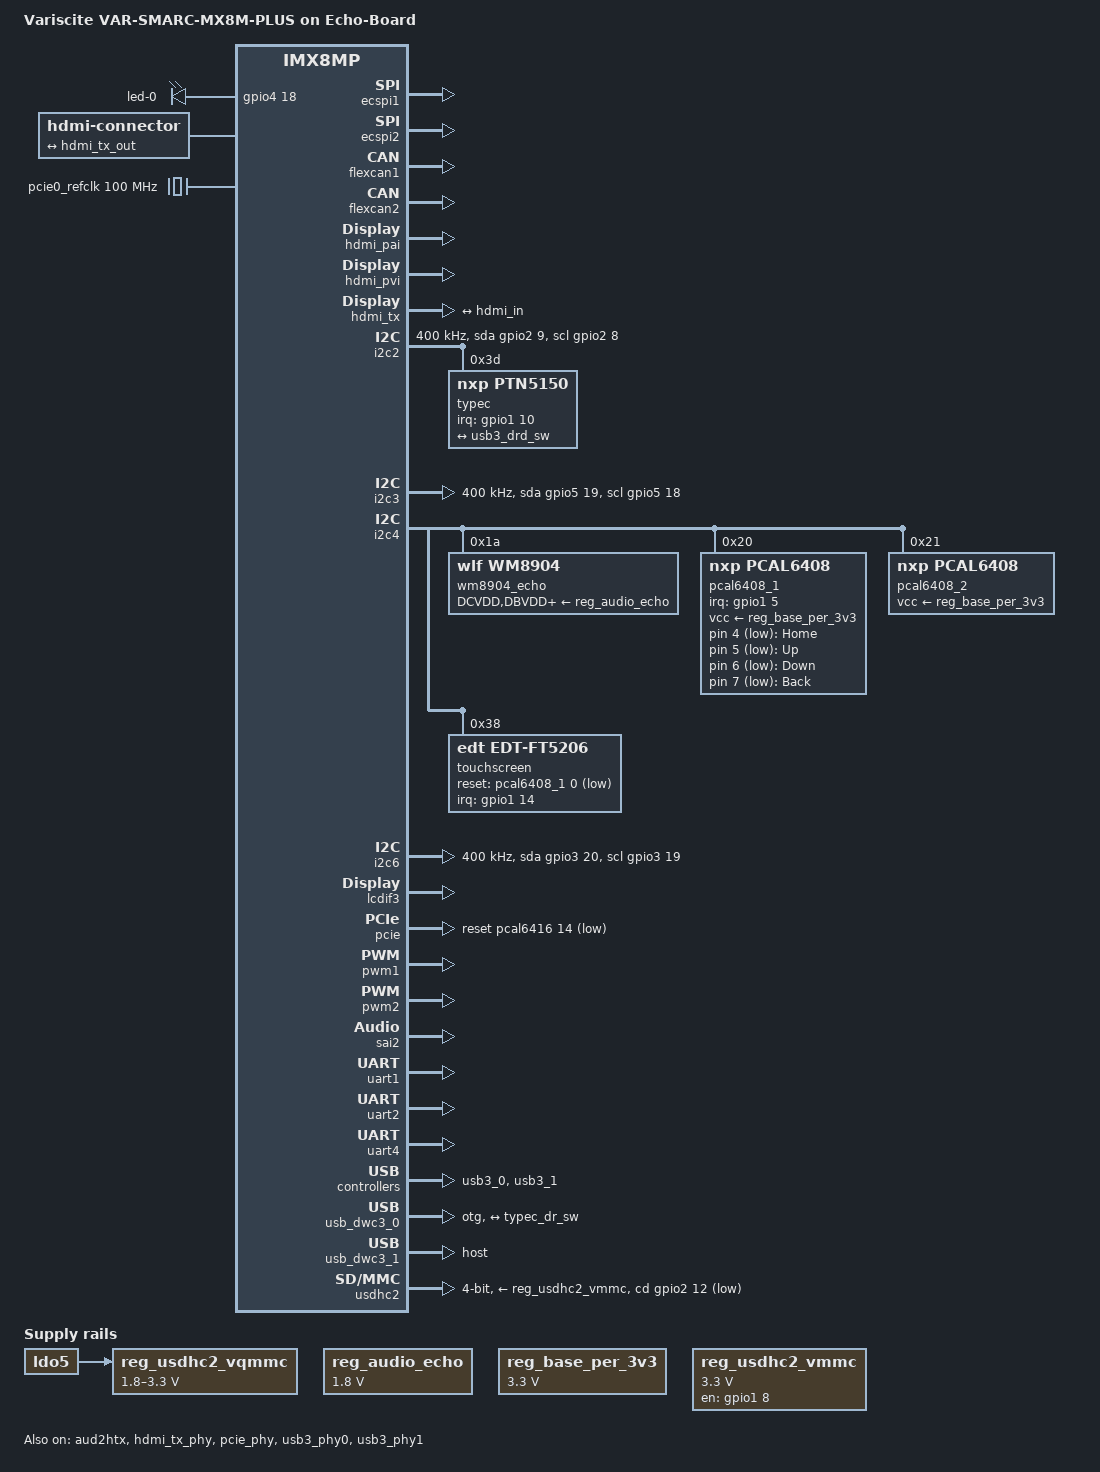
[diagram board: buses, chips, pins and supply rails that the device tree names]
// SPDX-License-Identifier: (GPL-2.0+ OR MIT)
/*
 * Variscite Echo carrier board for VAR-SMARC-MX8M-PLUS
 *
 * Link: https://variscite.com/carrier-boards/echo-board/
 *
 * Copyright (C) 2026 Variscite Ltd. - https://www.variscite.com/
 *
 */

/dts-v1/;

#include <dt-bindings/leds/common.h>
#include <dt-bindings/phy/phy-imx8-pcie.h>
#include "imx8mp-var-smarc.dtsi"

/ {
	model = "Variscite VAR-SMARC-MX8M-PLUS on Echo-Board";
	compatible = "variscite,var-smarc-mx8mp-echo",
		     "variscite,var-smarc-mx8mp",
		     "fsl,imx8mp";

	chosen {
		stdout-path = &uart2;
	};

	gpio-keys {
		compatible = "gpio-keys";

		button-home {
			label = "Home";
			linux,code = <KEY_HOME>;
			gpios = <&pcal6408_1 4 GPIO_ACTIVE_LOW>;
		};

		button-up {
			label = "Up";
			linux,code = <KEY_UP>;
			gpios = <&pcal6408_1 5 GPIO_ACTIVE_LOW>;
		};

		button-down {
			label = "Down";
			linux,code = <KEY_DOWN>;
			gpios = <&pcal6408_1 6 GPIO_ACTIVE_LOW>;
		};

		button-back {
			label = "Back";
			linux,code = <KEY_BACK>;
			gpios = <&pcal6408_1 7 GPIO_ACTIVE_LOW>;
		};
	};

	gpio-leds {
		compatible = "gpio-leds";
		pinctrl-names = "default";
		pinctrl-0 = <&pinctrl_led>;

		led-0 {
			function = LED_FUNCTION_DISK;
			gpios = <&gpio4 18 GPIO_ACTIVE_HIGH>;
			linux,default-trigger = "mmc2";
		};
	};

	hdmi-connector {
		compatible = "hdmi-connector";
		type = "c";

		port {
			hdmi_in: endpoint {
				remote-endpoint = <&hdmi_tx_out>;
			};
		};
	};

	pcie0_refclk: pcie0-refclk {
		compatible = "fixed-clock";
		#clock-cells = <0>;
		clock-frequency = <100000000>;
	};

	reg_audio_echo: regulator-audio-echo-vdd {
		compatible = "regulator-fixed";
		regulator-name = "wm8904_echo_supply";
		regulator-min-microvolt = <1800000>;
		regulator-max-microvolt = <1800000>;
		regulator-always-on;
	};

	reg_base_per_3v3: regulator-base-per-3v3 {
		compatible = "regulator-fixed";
		regulator-name = "BASE_PER_3V3";
		regulator-min-microvolt = <3300000>;
		regulator-max-microvolt = <3300000>;
	};

	reg_usdhc2_vmmc: regulator-usdhc2-vmmc {
		compatible = "regulator-fixed";
		regulator-name = "VSD_3V3";
		regulator-min-microvolt = <3300000>;
		regulator-max-microvolt = <3300000>;
		gpio = <&gpio1 8 GPIO_ACTIVE_HIGH>;
		enable-active-high;
		startup-delay-us = <100>;
		off-on-delay-us = <12000>;
	};

	reg_usdhc2_vqmmc: regulator-usdhc2-vqmmc {
		compatible = "regulator-gpio";
		regulator-name = "VSD_VSEL";
		regulator-min-microvolt = <1800000>;
		regulator-max-microvolt = <3300000>;
		gpios = <&gpio1 4 GPIO_ACTIVE_HIGH>;
		gpios-states = <1>;
		states = <3300000 0>, <1800000 1>;
		vin-supply = <&ldo5>;
	};

	sound-echo {
		compatible = "simple-audio-card";
		simple-audio-card,bitclock-master = <&echo_codec_dai>;
		simple-audio-card,format = "i2s";
		simple-audio-card,frame-master = <&echo_codec_dai>;
		simple-audio-card,mclk-fs = <256>;
		simple-audio-card,name = "wm8904-ech-audio";
		simple-audio-card,routing =
			"Headphone Jack", "HPOUTL",
			"Headphone Jack", "HPOUTR",
			"IN2L", "Line In Jack",
			"IN2R", "Line In Jack",
			"IN1L", "Microphone Jack",
			"IN1R", "Microphone Jack";
		simple-audio-card,widgets =
			"Microphone", "Microphone Jack",
			"Headphone", "Headphone Jack",
			"Line", "Line In Jack";

		echo_codec_dai: simple-audio-card,codec {
			sound-dai = <&wm8904_echo>;
		};

		simple-audio-card,cpu {
			sound-dai = <&sai2>;
		};
	};

	sound-hdmi {
		compatible = "fsl,imx-audio-hdmi";
		model = "audio-hdmi";
		audio-cpu = <&aud2htx>;
		hdmi-out;
	};
};

&aud2htx {
	status = "okay";
};

&ecspi1 {
	pinctrl-names = "default";
	pinctrl-0 = <&pinctrl_ecspi1>;
	cs-gpios = <&gpio5 17 GPIO_ACTIVE_LOW>;
	status = "okay";
};

&ecspi2 {
	pinctrl-names = "default";
	pinctrl-0 = <&pinctrl_ecspi2>;
	cs-gpios = <&gpio5 13 GPIO_ACTIVE_LOW>;
	status = "okay";
};

&flexcan1 {
	pinctrl-names = "default";
	pinctrl-0 = <&pinctrl_flexcan1>;
	status = "okay";
};

&flexcan2 {
	pinctrl-names = "default";
	pinctrl-0 = <&pinctrl_flexcan2>;
	status = "okay";
};

&hdmi_pai {
	status = "okay";
};

&hdmi_pvi {
	status = "okay";
};

&hdmi_tx {
	pinctrl-names = "default";
	pinctrl-0 = <&pinctrl_hdmi>;
	status = "okay";

	ports {
		port@1 {
			hdmi_tx_out: endpoint {
				remote-endpoint = <&hdmi_in>;
			};
		};
	};
};

&hdmi_tx_phy {
	status = "okay";
};

&i2c2 {
	clock-frequency = <400000>;
	pinctrl-names = "default", "gpio";
	pinctrl-0 = <&pinctrl_i2c2>;
	pinctrl-1 = <&pinctrl_i2c2_gpio>;
	scl-gpios = <&gpio2 8 (GPIO_ACTIVE_HIGH | GPIO_OPEN_DRAIN)>;
	sda-gpios = <&gpio2 9 (GPIO_ACTIVE_HIGH | GPIO_OPEN_DRAIN)>;
	status = "okay";

	typec@3d {
		compatible = "nxp,ptn5150";
		reg = <0x3d>;
		pinctrl-names = "default";
		pinctrl-0 = <&pinctrl_ptn5150>;
		interrupt-parent = <&gpio1>;
		interrupts = <10 IRQ_TYPE_EDGE_FALLING>;

		port {
			typec_dr_sw: endpoint {
				remote-endpoint = <&usb3_drd_sw>;
			};
		};
	};
};

&i2c3 {
	clock-frequency = <400000>;
	pinctrl-names = "default", "gpio";
	pinctrl-0 = <&pinctrl_i2c3>;
	pinctrl-1 = <&pinctrl_i2c3_gpio>;
	scl-gpios = <&gpio5 18 (GPIO_ACTIVE_HIGH | GPIO_OPEN_DRAIN)>;
	sda-gpios = <&gpio5 19 (GPIO_ACTIVE_HIGH | GPIO_OPEN_DRAIN)>;
	status = "okay";
};

&i2c4 {
	wm8904_echo: codec@1a {
		compatible = "wlf,wm8904";
		reg = <0x1a>;
		#sound-dai-cells = <0>;
		clocks = <&audio_blk_ctrl IMX8MP_CLK_AUDIOMIX_SAI2_MCLK1>;
		clock-names = "mclk";
		DCVDD-supply = <&reg_audio_echo>;
		DBVDD-supply = <&reg_audio_echo>;
		AVDD-supply = <&reg_audio_echo>;
		CPVDD-supply = <&reg_audio_echo>;
		MICVDD-supply = <&reg_audio_echo>;
		wlf,drc-cfg-names = "default", "peaklimiter", "tradition",
				    "soft", "music";
		/*
		 * Config registers per name, respectively:
		 * KNEE_IP = 0,   KNEE_OP = 0,     HI_COMP = 1,   LO_COMP = 1
		 * KNEE_IP = -24, KNEE_OP = -6,    HI_COMP = 1/4, LO_COMP = 1
		 * KNEE_IP = -42, KNEE_OP = -3,    HI_COMP = 0,   LO_COMP = 1
		 * KNEE_IP = -45, KNEE_OP = -9,    HI_COMP = 1/8, LO_COMP = 1
		 * KNEE_IP = -30, KNEE_OP = -10.5, HI_COMP = 1/4, LO_COMP = 1
		 */
		wlf,drc-cfg-regs = /bits/ 16 <0x01af 0x3248 0x0000 0x0000>,
				   /bits/ 16 <0x04af 0x324b 0x0010 0x0408>,
				   /bits/ 16 <0x04af 0x324b 0x0028 0x0704>,
				   /bits/ 16 <0x04af 0x324b 0x0018 0x078c>,
				   /bits/ 16 <0x04af 0x324b 0x0010 0x050e>;
		/* GPIO1 = DMIC_CLK, don't touch others */
		wlf,gpio-cfg = <0x0018>, <0xffff>, <0xffff>, <0xffff>;
		wlf,in1l-as-dmicdat1;
	};

	pcal6408_1: gpio@20 {
		compatible = "nxp,pcal6408";
		reg = <0x20>;
		vcc-supply = <&reg_base_per_3v3>;
		gpio-controller;
		#gpio-cells = <2>;
		pinctrl-names = "default";
		pinctrl-0 = <&pinctrl_pcal6408>;
		interrupt-parent = <&gpio1>;
		interrupts = <5 IRQ_TYPE_EDGE_FALLING>;
	};

	pcal6408_2: gpio@21 {
		compatible = "nxp,pcal6408";
		reg = <0x21>;
		vcc-supply = <&reg_base_per_3v3>;
		gpio-controller;
		#gpio-cells = <2>;
	};

	touchscreen@38 {
		compatible = "edt,edt-ft5206";
		reg = <0x38>;
		pinctrl-names = "default";
		pinctrl-0 = <&pinctrl_captouch>;
		reset-gpios = <&pcal6408_1 0 GPIO_ACTIVE_LOW>;
		interrupt-parent = <&gpio1>;
		interrupts = <14 IRQ_TYPE_EDGE_FALLING>;
		touchscreen-size-x = <800>;
		touchscreen-size-y = <480>;
		touchscreen-inverted-x;
		touchscreen-inverted-y;
	};
};

&i2c6 {
	clock-frequency = <400000>;
	pinctrl-names = "default", "gpio";
	pinctrl-0 = <&pinctrl_i2c6>;
	pinctrl-1 = <&pinctrl_i2c6_gpio>;
	scl-gpios = <&gpio3 19 (GPIO_ACTIVE_HIGH | GPIO_OPEN_DRAIN)>;
	sda-gpios = <&gpio3 20 (GPIO_ACTIVE_HIGH | GPIO_OPEN_DRAIN)>;
	status = "okay";
};

&lcdif3 {
	status = "okay";
};

&pcie {
	reset-gpios = <&pcal6416 14 GPIO_ACTIVE_LOW>;
	status = "okay";
};

&pcie_phy {
	fsl,refclk-pad-mode = <IMX8_PCIE_REFCLK_PAD_INPUT>;
	clocks = <&pcie0_refclk>;
	clock-names = "ref";
	status = "okay";
};

&pwm1 {
	pinctrl-names = "default";
	pinctrl-0 = <&pinctrl_pwm1>;
	status = "okay";
};

&pwm2 {
	pinctrl-names = "default";
	pinctrl-0 = <&pinctrl_pwm2>;
	status = "okay";
};

&sai2 {
	pinctrl-names = "default";
	pinctrl-0 = <&pinctrl_sai2>;
	assigned-clocks = <&clk IMX8MP_CLK_SAI2>;
	assigned-clock-parents = <&clk IMX8MP_AUDIO_PLL1_OUT>;
	assigned-clock-rates = <11536000>;
	clocks = <&audio_blk_ctrl IMX8MP_CLK_AUDIOMIX_SAI2_IPG>,
		 <&clk IMX8MP_CLK_DUMMY>,
		 <&audio_blk_ctrl IMX8MP_CLK_AUDIOMIX_SAI2_MCLK1>,
		 <&clk IMX8MP_CLK_DUMMY>,
		 <&clk IMX8MP_CLK_DUMMY>;
	clock-names = "bus", "mclk0", "mclk1", "mclk2", "mclk3";
	fsl,sai-mclk-direction-output;
	status = "okay";
};

/* Header */
&uart1 {
	pinctrl-names = "default";
	pinctrl-0 = <&pinctrl_uart1>;
	uart-has-rtscts;
	status = "okay";
};

/* Console */
&uart2 {
	pinctrl-names = "default";
	pinctrl-0 = <&pinctrl_uart2>;
	status = "okay";
};

/* Header */
&uart4 {
	pinctrl-names = "default";
	pinctrl-0 = <&pinctrl_uart4>;
	status = "okay";
};

&usb3_0 {
	status = "okay";
};

&usb3_1 {
	status = "okay";
};

&usb3_phy0 {
	fsl,phy-tx-vref-tune-percent = <122>;
	fsl,phy-tx-preemp-amp-tune-microamp = <1800>;
	fsl,phy-tx-vboost-level-microvolt = <1156>;
	fsl,phy-comp-dis-tune-percent = <115>;
	fsl,phy-pcs-tx-deemph-3p5db-attenuation-db = <33>;
	fsl,phy-pcs-tx-swing-full-percent = <100>;
	status = "okay";
};

&usb3_phy1 {
	fsl,phy-tx-preemp-amp-tune-microamp = <1800>;
	fsl,phy-tx-vref-tune-percent = <116>;
	status = "okay";
};

&usb_dwc3_0 {
	adp-disable;
	dr_mode = "otg";
	hnp-disable;
	maximum-speed = "high-speed";
	snps,dis-u1-entry-quirk;
	snps,dis-u2-entry-quirk;
	srp-disable;
	usb-role-switch;
	status = "okay";

	port {
		usb3_drd_sw: endpoint {
			remote-endpoint = <&typec_dr_sw>;
		};
	};
};

&usb_dwc3_1 {
	dr_mode = "host";
	/* Prevent controller from entering U1/U2 power-saving states. */
	snps,dis-u1-entry-quirk;
	snps,dis-u2-entry-quirk;
	status = "okay";
};

&usdhc2 {
	pinctrl-names = "default", "state_100mhz", "state_200mhz";
	pinctrl-0 = <&pinctrl_usdhc2>, <&pinctrl_usdhc2_gpio>;
	pinctrl-1 = <&pinctrl_usdhc2_100mhz>, <&pinctrl_usdhc2_gpio>;
	pinctrl-2 = <&pinctrl_usdhc2_200mhz>, <&pinctrl_usdhc2_gpio>;
	cd-gpios = <&gpio2 12 GPIO_ACTIVE_LOW>;
	vmmc-supply = <&reg_usdhc2_vmmc>;
	vqmmc-supply = <&reg_usdhc2_vqmmc>;
	bus-width = <4>;
	status = "okay";
};

&iomuxc {
	pinctrl_captouch: captouchgrp {
		fsl,pins = <
			MX8MP_IOMUXC_GPIO1_IO14__GPIO1_IO14		0x16
		>;
	};

	pinctrl_ecspi1: ecspi1grp {
		fsl,pins = <
			MX8MP_IOMUXC_I2C1_SCL__ECSPI1_SCLK		0x12
			MX8MP_IOMUXC_I2C1_SDA__ECSPI1_MOSI		0x12
			MX8MP_IOMUXC_I2C2_SCL__ECSPI1_MISO		0x12
			MX8MP_IOMUXC_I2C2_SDA__GPIO5_IO17		0x12
		>;
	};

	pinctrl_ecspi2: ecspi2grp {
		fsl,pins = <
			MX8MP_IOMUXC_ECSPI2_SCLK__ECSPI2_SCLK		0x12
			MX8MP_IOMUXC_ECSPI2_MOSI__ECSPI2_MOSI		0x12
			MX8MP_IOMUXC_ECSPI2_MISO__ECSPI2_MISO		0x12
			MX8MP_IOMUXC_ECSPI2_SS0__GPIO5_IO13		0x12
		>;
	};

	pinctrl_flexcan1: flexcan1grp {
		fsl,pins = <
			MX8MP_IOMUXC_SPDIF_TX__CAN1_TX			0x154
			MX8MP_IOMUXC_SPDIF_RX__CAN1_RX			0x154
		>;
	};

	pinctrl_flexcan2: flexcan2grp {
		fsl,pins = <
			MX8MP_IOMUXC_HDMI_CEC__CAN2_TX			0x154
			MX8MP_IOMUXC_SAI5_MCLK__CAN2_RX			0x154
		>;
	};

	pinctrl_hdmi: hdmigrp {
		fsl,pins = <
			MX8MP_IOMUXC_HDMI_DDC_SCL__HDMIMIX_HDMI_SCL	0x400001c2
			MX8MP_IOMUXC_HDMI_DDC_SDA__HDMIMIX_HDMI_SDA	0x400001c2
			MX8MP_IOMUXC_HDMI_HPD__HDMIMIX_HDMI_HPD		0x40000010
		>;
	};

	pinctrl_i2c2: i2c2grp {
		fsl,pins = <
			MX8MP_IOMUXC_SD1_DATA6__I2C2_SCL		0x400001c2
			MX8MP_IOMUXC_SD1_DATA7__I2C2_SDA		0x400001c2
		>;
	};

	pinctrl_i2c2_gpio: i2c2-gpiogrp {
		fsl,pins = <
			MX8MP_IOMUXC_SD1_DATA6__GPIO2_IO08		0x1c2
			MX8MP_IOMUXC_SD1_DATA7__GPIO2_IO09		0x1c2
		>;
	};

	pinctrl_i2c3: i2c3grp {
		fsl,pins = <
			MX8MP_IOMUXC_I2C3_SCL__I2C3_SCL			0x400001c2
			MX8MP_IOMUXC_I2C3_SDA__I2C3_SDA			0x400001c2
		>;
	};

	pinctrl_i2c3_gpio: i2c3-gpiogrp {
		fsl,pins = <
			MX8MP_IOMUXC_I2C3_SCL__GPIO5_IO18		0x1c2
			MX8MP_IOMUXC_I2C3_SDA__GPIO5_IO19		0x1c2
		>;
	};

	pinctrl_i2c6: i2c6grp {
		fsl,pins = <
			MX8MP_IOMUXC_SAI5_RXFS__I2C6_SCL		0x400001c2
			MX8MP_IOMUXC_SAI5_RXC__I2C6_SDA			0x400001c2
		>;
	};

	pinctrl_i2c6_gpio: i2c6-gpiogrp {
		fsl,pins = <
			MX8MP_IOMUXC_SAI5_RXFS__GPIO3_IO19		0x1c2
			MX8MP_IOMUXC_SAI5_RXC__GPIO3_IO20		0x1c2
		>;
	};

	pinctrl_led: ledgrp {
		fsl,pins = <
			MX8MP_IOMUXC_SAI1_TXD6__GPIO4_IO18		0xc6
		>;
	};

	pinctrl_pcal6408: pcal6408grp {
		fsl,pins = <
			MX8MP_IOMUXC_GPIO1_IO05__GPIO1_IO05		0x1c6
		>;
	};

	pinctrl_ptn5150: ptn5150grp {
		fsl,pins = <
			MX8MP_IOMUXC_GPIO1_IO10__GPIO1_IO10		0x10
		>;
	};

	pinctrl_pwm1: pwm1grp {
		fsl,pins = <
			MX8MP_IOMUXC_SPDIF_EXT_CLK__PWM1_OUT		0x116
		>;
	};

	pinctrl_pwm2: pwm2grp {
		fsl,pins = <
			MX8MP_IOMUXC_GPIO1_IO11__PWM2_OUT		0x116
		>;
	};

	pinctrl_sai2: sai2grp {
		fsl,pins = <
			MX8MP_IOMUXC_SAI2_TXFS__AUDIOMIX_SAI2_TX_SYNC	0xd6
			MX8MP_IOMUXC_SAI2_TXC__AUDIOMIX_SAI2_TX_BCLK	0xd6
			MX8MP_IOMUXC_SAI2_RXD0__AUDIOMIX_SAI2_RX_DATA00	0xd6
			MX8MP_IOMUXC_SAI2_TXD0__AUDIOMIX_SAI2_TX_DATA00	0xd6
			MX8MP_IOMUXC_SAI2_MCLK__AUDIOMIX_SAI2_MCLK	0xd6
		>;
	};

	pinctrl_uart1: uart1grp {
		fsl,pins = <
			MX8MP_IOMUXC_UART1_RXD__UART1_DCE_RX		0x40
			MX8MP_IOMUXC_UART1_TXD__UART1_DCE_TX		0x40
			MX8MP_IOMUXC_UART3_RXD__UART1_DCE_CTS		0x40
			MX8MP_IOMUXC_UART3_TXD__UART1_DCE_RTS		0x40
		>;
	};

	pinctrl_uart2: uart2grp {
		fsl,pins = <
			MX8MP_IOMUXC_UART2_RXD__UART2_DCE_RX		0x40
			MX8MP_IOMUXC_UART2_TXD__UART2_DCE_TX		0x40
		>;
	};

	pinctrl_uart4: uart4grp {
		fsl,pins = <
			MX8MP_IOMUXC_UART4_RXD__UART4_DCE_RX		0x40
			MX8MP_IOMUXC_UART4_TXD__UART4_DCE_TX		0x40
		>;
	};

	pinctrl_usdhc2: usdhc2grp {
		fsl,pins = <
			MX8MP_IOMUXC_SD2_CLK__USDHC2_CLK		0x190
			MX8MP_IOMUXC_SD2_CMD__USDHC2_CMD		0x1d0
			MX8MP_IOMUXC_SD2_DATA0__USDHC2_DATA0		0x1d0
			MX8MP_IOMUXC_SD2_DATA1__USDHC2_DATA1		0x1d0
			MX8MP_IOMUXC_SD2_DATA2__USDHC2_DATA2		0x1d0
			MX8MP_IOMUXC_SD2_DATA3__USDHC2_DATA3		0x1d0
		>;
	};

	pinctrl_usdhc2_100mhz: usdhc2-100mhzgrp {
		fsl,pins = <
			MX8MP_IOMUXC_SD2_CLK__USDHC2_CLK		0x194
			MX8MP_IOMUXC_SD2_CMD__USDHC2_CMD		0x1d4
			MX8MP_IOMUXC_SD2_DATA0__USDHC2_DATA0		0x1d4
			MX8MP_IOMUXC_SD2_DATA1__USDHC2_DATA1		0x1d4
			MX8MP_IOMUXC_SD2_DATA2__USDHC2_DATA2		0x1d4
			MX8MP_IOMUXC_SD2_DATA3__USDHC2_DATA3		0x1d4
		>;
	};

	pinctrl_usdhc2_200mhz: usdhc2-200mhzgrp {
		fsl,pins = <
			MX8MP_IOMUXC_SD2_CLK__USDHC2_CLK		0x196
			MX8MP_IOMUXC_SD2_CMD__USDHC2_CMD		0x1d6
			MX8MP_IOMUXC_SD2_DATA0__USDHC2_DATA0		0x1d6
			MX8MP_IOMUXC_SD2_DATA1__USDHC2_DATA1		0x1d6
			MX8MP_IOMUXC_SD2_DATA2__USDHC2_DATA2		0x1d6
			MX8MP_IOMUXC_SD2_DATA3__USDHC2_DATA3		0x1d6
		>;
	};

	pinctrl_usdhc2_gpio: usdhc2-gpiogrp {
		fsl,pins = <
			/* Card detect */
			MX8MP_IOMUXC_SD2_CD_B__GPIO2_IO12		0x10
			/* Power enable */
			MX8MP_IOMUXC_GPIO1_IO08__GPIO1_IO08		0x1c4
			/* Voltage select */
			MX8MP_IOMUXC_GPIO1_IO04__GPIO1_IO04		0xc0
		>;
	};
};
